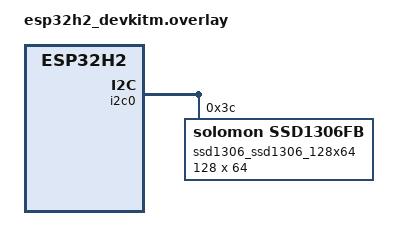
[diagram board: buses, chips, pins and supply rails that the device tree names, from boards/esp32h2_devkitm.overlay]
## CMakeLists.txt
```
# SPDX-License-Identifier: Apache-2.0

cmake_minimum_required(VERSION 3.28.0)

find_package(Zephyr REQUIRED HINTS $ENV{ZEPHYR_BASE})
project(lvgl)

FILE(GLOB app_sources src/*.c)
target_sources(app PRIVATE ${app_sources})
```

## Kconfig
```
# Copyright (c) 2023 Nordic Semiconductor ASA
# SPDX-License-Identifier: Apache-2.0

source "Kconfig.zephyr"

mainmenu "LVGL Sample"

config RESET_COUNTER_SW0
	bool "Reset counter when sw0 is pressed"
	depends on $(dt_alias_enabled,sw0)
	select GPIO
	default y
```

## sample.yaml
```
sample:
  description: LVGL sample application
  name: lvgl
common:
  tags:
    - display
    - gui
    - lvgl
    - samples
  modules:
    - lvgl
tests:
  sample.display.lvgl.gui:
    filter: dt_chosen_enabled("zephyr,display")
    # flash usage varies depending on the platform, but ~200K are the bare
    # minimum, give some room by adding 50K more. RAM usage depends largerly on
    # the display buffer, but a minimum is also required for the system itself.
    # ~25K seem to be sufficient for most cases, rounded to 32K.
    min_flash: 250
    min_ram: 32
    harness: none
    integration_platforms:
      - native_sim/native/64
  sample.display.lvgl.rk055hdmipi4m:
    tags: shield
    # This sample is intended to test the RT1170 and RT595, which require
    # a display shield to work with LVGL
    min_flash: 250
    # The minimum RAM needed for this display is actually around 8MB,
    # but the RT595 uses external PSRAM for the display buffer
    min_ram: 32
    harness: none
    extra_args: SHIELD="rk055hdmipi4ma0"
    platform_allow:
      - mimxrt1170_evk/mimxrt1176/cm7
      - mimxrt595_evk/mimxrt595s/cm33
    integration_platforms:
      - mimxrt1170_evk/mimxrt1176/cm7
    harness_config:
      fixture: fixture_display_rk055hdmipi4m
  sample.display.lvgl.st_b_lcd40_dsi1_mb1166:
    tags: shield
    filter: dt_compat_enabled("orisetech,otm8009a")
    platform_allow: stm32h747i_disco/stm32h747xx/m7
    extra_args: SHIELD=st_b_lcd40_dsi1_mb1166
    harness: console
    harness_config:
      fixture: fixture_display
  sample.display.lvgl.st_b_lcd40_dsi1_mb1166_a09:
    tags: shield
    filter: dt_compat_enabled("frida,nt35510")
    platform_allow: stm32h747i_disco/stm32h747xx/m7
    extra_args: SHIELD=st_b_lcd40_dsi1_mb1166_a09
    harness: console
    harness_config:
      fixture: fixture_display
  sample.display.lvgl.rk043fn66hs_ctg:
    tags: shield
    platform_allow:
      - mimxrt1064_evk
      - mimxrt1060_evk/mimxrt1062/qspi
      - mimxrt1050_evk/mimxrt1052/hyperflash
      - mimxrt1040_evk
    integration_platforms:
      - mimxrt1040_evk
    harness: console
    extra_args: SHIELD=rk043fn66hs_ctg
    harness_config:
      fixture: fixture_display_rk043fn66hs_ctg
  sample.display.lvgl.rk043fn02h_ct:
    tags: shield
    platform_allow:
      - mimxrt1064_evk
      - mimxrt1060_evk@C/mimxrt1062/qspi
      - mimxrt1050_evk/mimxrt1052/hyperflash
      - mimxrt1040_evk
    integration_platforms:
      - mimxrt1040_evk
    harness: console
    extra_args: SHIELD=rk043fn02h_ct
    harness_config:
      fixture: fixture_display_rk043fn02h_ct
  sample.display.lvgl.renesas_ra_glcdc:
    tags:
      - shield
    filter: dt_compat_enabled("renesas,ra-glcdc")
    extra_args:
      - platform:ek_ra8d1/r7fa8d1bhecbd:SHIELD=rtkmipilcdb00000be
      - platform:ek_ra8d1/r7fa8d1bhecbd:SHIELD="rtk7eka6m3b00001bu;ek_ra8d1_rtk7eka6m3b00001bu"
    harness_config:
      fixture: fixture_display
  sample.display.lvgl.seeed_xiao_round_display:
    tags: shield
    min_flash: 320
    min_ram: 64
    depends_on:
      - xiao_adc
      - xiao_gpio
      - xiao_i2c
      - xiao_spi
    integration_platforms:
      - xiao_ble
      - xiao_esp32s3/esp32s3/procpu
    extra_args: SHIELD=seeed_xiao_round_display
    harness: console
    harness_config:
      fixture: fixture_seeed_xiao_round_display
```

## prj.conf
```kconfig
CONFIG_LV_Z_MEM_POOL_SIZE=16384
CONFIG_LV_Z_SHELL=y
CONFIG_MAIN_STACK_SIZE=4096

CONFIG_DISPLAY=y
CONFIG_DISPLAY_LOG_LEVEL_ERR=y

CONFIG_INPUT=y

CONFIG_LOG=y
CONFIG_SHELL=y

CONFIG_LVGL=y
CONFIG_LV_USE_LOG=y
CONFIG_LV_USE_LABEL=y
CONFIG_LV_USE_ARC=y
CONFIG_LV_USE_MONKEY=y
CONFIG_LV_FONT_MONTSERRAT_14=y
```

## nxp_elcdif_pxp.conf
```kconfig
# Copyright 2025 NXP
# SPDX-License-Identifier: Apache-2.0

CONFIG_MAIN_STACK_SIZE=20480
```

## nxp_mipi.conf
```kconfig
# Copyright 2025 NXP
# SPDX-License-Identifier: Apache-2.0

CONFIG_DMA=y
CONFIG_MAIN_STACK_SIZE=20480
CONFIG_MIPI_DSI=y
```

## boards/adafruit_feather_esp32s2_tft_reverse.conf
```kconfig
CONFIG_POWER_DOMAIN=y
CONFIG_GPIO=y
CONFIG_PM_DEVICE=y
CONFIG_PM_DEVICE_POWER_DOMAIN=y

CONFIG_MAIN_STACK_SIZE=4096
```

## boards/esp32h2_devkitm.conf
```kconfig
CONFIG_LV_USE_THEME_DEFAULT=y
CONFIG_LV_Z_VDB_SIZE=64
CONFIG_LV_DPI_DEF=116
CONFIG_LV_Z_BITS_PER_PIXEL=1
CONFIG_LV_COLOR_DEPTH_1=y
```

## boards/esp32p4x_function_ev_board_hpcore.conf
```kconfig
CONFIG_MIPI_DSI=y
CONFIG_SOC_FAMILY_ESPRESSIF_SPIRAM=y
CONFIG_SOC_FAMILY_ESPRESSIF_SPIRAM_HEAP_SIZE=8388608
CONFIG_HEAP_MEM_POOL_SIZE=262144

CONFIG_LV_Z_MEM_POOL_SIZE=65536
CONFIG_LV_Z_VDB_SIZE=16
CONFIG_MAIN_STACK_SIZE=8192
```

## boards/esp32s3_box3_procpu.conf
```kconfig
# ESP32-S3-BOX-3 specific config for lvgl sample
CONFIG_SPI=y
CONFIG_GPIO=y
CONFIG_I2C=y
CONFIG_REGULATOR=y

CONFIG_LV_Z_MEM_POOL_SIZE=65536
CONFIG_LV_COLOR_DEPTH_16=y
CONFIG_LV_COLOR_16_SWAP=y

CONFIG_HEAP_MEM_POOL_SIZE=131072
CONFIG_MAIN_STACK_SIZE=8192
```

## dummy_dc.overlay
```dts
/*
 * Copyright (c) 2021 Nordic Semiconductor ASA
 *
 * SPDX-License-Identifier: Apache-2.0
 */

/ {
	chosen {
		zephyr,display = &dummy_dc;
	};

	dummy_dc: dummy_dc {
		compatible = "zephyr,dummy-dc";
		label = "DISPLAY";
		height = <240>;
		width = <320>;
	};
};
```

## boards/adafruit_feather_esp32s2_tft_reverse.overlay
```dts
&st7789v_tft {
	status = "okay";
};
```

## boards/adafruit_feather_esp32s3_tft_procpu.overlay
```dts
&st7789v {
	status = "okay";
};
```

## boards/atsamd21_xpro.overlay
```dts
/*
 * Copyright (c) 2024 Scott Barnes <scott@atomsmith.net>
 *
 * SPDX-License-Identifier: Apache-2.0
 */

ext1_spi: &sercom0 {
	compatible = "atmel,sam0-spi";
	dipo = <0>;		/* PAD[0] is MISO */
	dopo = <1>;		/* PAD[2] is MOSI, PAD[3] is SCK */
	#address-cells = <1>;
	#size-cells = <0>;

	pinctrl-0 = <&ext1_spi_default>;
	pinctrl-names = "default";

	cs-gpios = <&porta 5 GPIO_ACTIVE_LOW>;

	/delete-property/ current-speed;
	/delete-property/ rxpo;
	/delete-property/ txpo;
};

ext2_spi: &sercom1 {
	compatible = "atmel,sam0-spi";
	dipo = <0>;		/* PAD[0] is MISO */
	dopo = <1>;		/* PAD[2] is MOSI, PAD[3] is SCK */
	#address-cells = <1>;
	#size-cells = <0>;

	pinctrl-0 = <&ext2_spi_default>;
	pinctrl-names = "default";

	cs-gpios = <&porta 17 GPIO_ACTIVE_LOW>, <&porta 17 GPIO_ACTIVE_LOW>;
	   /* Duplicate chip select provides shield compatibility with other Xplained Pro kits
	    * where the same SPI bus with distinct chp selects is shared between the EXT1 and
	    * EXT2 headers.
	    */

	/delete-property/ current-speed;
	/delete-property/ rxpo;
	/delete-property/ txpo;
};

ext3_spi: &sercom5 {
	dipo = <0>;		/* PAD[0] is MISO */
	dopo = <1>;		/* PAD[2] is MOSI, PAD[3] is SCK */

	pinctrl-0 = <&ext3_spi_default>;
	pinctrl-names = "default";

	cs-gpios = <&portb 17 GPIO_ACTIVE_LOW>;
};
```

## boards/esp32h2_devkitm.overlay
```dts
/ {
	chosen {
		zephyr,display = &ssd1306_ssd1306_128x64;
	};
};

&i2c0 {
	status = "okay";

	ssd1306_ssd1306_128x64: ssd1306@3c {
		compatible = "solomon,ssd1306fb";
		reg = <0x3c>;
		width = <128>;
		height = <64>;
		segment-offset = <0>;
		page-offset = <0>;
		display-offset = <0>;
		multiplex-ratio = <63>;
		segment-remap;
		com-invdir;
		prechargep = <0x22>;
	};
};
```

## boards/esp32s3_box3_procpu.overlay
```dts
/*
 * SPDX-License-Identifier: Apache-2.0
 */

/ {
	chosen {
		zephyr,display = &esp32_lcd;
	};
};

/* Turn on LCD backlight at boot via fixed regulator */
/ {
	lcd_backlight_en: lcd-backlight-en {
		compatible = "regulator-fixed";
		regulator-name = "lcd_backlight";
		enable-gpios = <&gpio1 15 GPIO_ACTIVE_HIGH>;
		regulator-boot-on;
	};
};
```

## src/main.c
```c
/*
 * Copyright (c) 2018 Jan Van Winkel <jan.van_winkel@dxplore.eu>
 *
 * SPDX-License-Identifier: Apache-2.0
 */

#include <zephyr/device.h>
#include <zephyr/devicetree.h>
#include <zephyr/drivers/display.h>
#include <zephyr/drivers/gpio.h>
#include <lvgl.h>
#include <stdio.h>
#include <string.h>
#include <zephyr/kernel.h>
#include <lvgl_input_device.h>

#define LOG_LEVEL CONFIG_LOG_DEFAULT_LEVEL
#include <zephyr/logging/log.h>
LOG_MODULE_REGISTER(app);

static uint32_t count;

#ifdef CONFIG_RESET_COUNTER_SW0
static struct gpio_dt_spec button_gpio = GPIO_DT_SPEC_GET_OR(
		DT_ALIAS(sw0), gpios, {0});
static struct gpio_callback button_callback;

static void button_isr_callback(const struct device *port,
				struct gpio_callback *cb,
				uint32_t pins)
{
	ARG_UNUSED(port);
	ARG_UNUSED(cb);
	ARG_UNUSED(pins);

	count = 0;
}
#endif /* CONFIG_RESET_COUNTER_SW0 */

#ifdef CONFIG_LV_Z_ENCODER_INPUT
static const struct device *lvgl_encoder =
	DEVICE_DT_GET(DT_COMPAT_GET_ANY_STATUS_OKAY(zephyr_lvgl_encoder_input));
#endif /* CONFIG_LV_Z_ENCODER_INPUT */

#ifdef CONFIG_LV_Z_KEYPAD_INPUT
static const struct device *lvgl_keypad =
	DEVICE_DT_GET(DT_COMPAT_GET_ANY_STATUS_OKAY(zephyr_lvgl_keypad_input));
#endif /* CONFIG_LV_Z_KEYPAD_INPUT */

static void lv_btn_click_callback(lv_event_t *e)
{
	ARG_UNUSED(e);

	count = 0;
}

int main(void)
{
	char count_str[11] = {0};
	const struct device *display_dev;
	lv_obj_t *hello_world_label;
	lv_obj_t *count_label;
	int ret;

	display_dev = DEVICE_DT_GET(DT_CHOSEN(zephyr_display));
	if (!device_is_ready(display_dev)) {
		LOG_ERR("Device not ready, aborting test");
		return 0;
	}

#ifdef CONFIG_RESET_COUNTER_SW0
	if (gpio_is_ready_dt(&button_gpio)) {
		int err;

		err = gpio_pin_configure_dt(&button_gpio, GPIO_INPUT);
		if (err) {
			LOG_ERR("failed to configure button gpio: %d", err);
			return 0;
		}

		gpio_init_callback(&button_callback, button_isr_callback,
				   BIT(button_gpio.pin));

		err = gpio_add_callback(button_gpio.port, &button_callback);
		if (err) {
			LOG_ERR("failed to add button callback: %d", err);
			return 0;
		}

		err = gpio_pin_interrupt_configure_dt(&button_gpio,
						      GPIO_INT_EDGE_TO_ACTIVE);
		if (err) {
			LOG_ERR("failed to enable button callback: %d", err);
			return 0;
		}
	}
#endif /* CONFIG_RESET_COUNTER_SW0 */

#ifdef CONFIG_LV_Z_ENCODER_INPUT
	lv_obj_t *arc;
	lv_group_t *arc_group;

	arc = lv_arc_create(lv_screen_active());
	lv_obj_align(arc, LV_ALIGN_CENTER, 0, -15);
	lv_obj_set_size(arc, 150, 150);

	arc_group = lv_group_create();
	lv_group_add_obj(arc_group, arc);
	lv_indev_set_group(lvgl_input_get_indev(lvgl_encoder), arc_group);
#endif /* CONFIG_LV_Z_ENCODER_INPUT */

#ifdef CONFIG_LV_Z_KEYPAD_INPUT
	lv_obj_t *btn_matrix;
	lv_group_t *btn_matrix_group;
	static const char *const btnm_map[] = {"1", "2", "3", "4", ""};

	btn_matrix = lv_buttonmatrix_create(lv_screen_active());
	lv_obj_align(btn_matrix, LV_ALIGN_CENTER, 0, 70);
	lv_buttonmatrix_set_map(btn_matrix, (const char **)btnm_map);
	lv_obj_set_size(btn_matrix, 100, 50);

	btn_matrix_group = lv_group_create();
	lv_group_add_obj(btn_matrix_group, btn_matrix);
	lv_indev_set_group(lvgl_input_get_indev(lvgl_keypad), btn_matrix_group);
#endif /* CONFIG_LV_Z_KEYPAD_INPUT */

	if (IS_ENABLED(CONFIG_LV_Z_POINTER_INPUT) || IS_ENABLED(CONFIG_LV_Z_BUTTON_INPUT)) {
		lv_obj_t *hello_world_button;

		hello_world_button = lv_button_create(lv_screen_active());
		lv_obj_align(hello_world_button, LV_ALIGN_CENTER, 0, -15);
		lv_obj_add_event_cb(hello_world_button, lv_btn_click_callback, LV_EVENT_CLICKED,
				    NULL);
		hello_world_label = lv_label_create(hello_world_button);
	} else {
		hello_world_label = lv_label_create(lv_screen_active());
	}

	lv_label_set_text(hello_world_label, "Hello world!");
	lv_obj_align(hello_world_label, LV_ALIGN_CENTER, 0, 0);

	count_label = lv_label_create(lv_screen_active());
	lv_obj_align(count_label, LV_ALIGN_BOTTOM_MID, 0, 0);

	lv_timer_handler();
	ret = display_blanking_off(display_dev);
	if (ret < 0 && ret != -ENOSYS) {
		LOG_ERR("Failed to turn blanking off (error %d)", ret);
		return 0;
	}

	while (1) {
		if ((count % 100) == 0U) {
			sprintf(count_str, "%d", count/100U);
			lv_label_set_text(count_label, count_str);
		}
		lv_timer_handler();
		++count;
		k_sleep(K_MSEC(10));
	}
}
```
